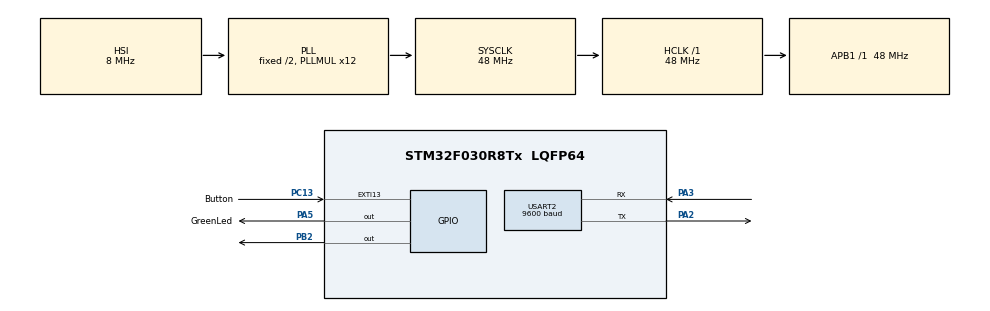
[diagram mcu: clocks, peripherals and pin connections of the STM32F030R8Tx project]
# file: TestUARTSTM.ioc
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Mcu.Family=STM32F0
Mcu.Name=STM32F030R8Tx
Mcu.Package=LQFP64
NVIC.EXTI4_15_IRQn=true\:0\:0\:false\:true\:true\:2\:true
NVIC.USART2_IRQn=true\:0\:0\:false\:true\:true\:1\:true
PA2.Mode=Asynchronous
PA2.Signal=USART2_TX
PA3.Mode=Asynchronous
PA3.Signal=USART2_RX
PA5.GPIO_Label=GreenLed
PA5.Signal=GPIO_Output
PB2.Signal=GPIO_Output
PC13.GPIO_Label=Button
PC13.Signal=GPXTI13
ProjectManager.HeapSize=0x200
ProjectManager.StackSize=0x400
ProjectManager.TargetToolchain=MDK-ARM V5
RCC.AHBFreq_Value=48000000
RCC.APB1Freq_Value=48000000
RCC.APB1TimFreq_Value=48000000
RCC.HCLKFreq_Value=48000000
RCC.PLLMUL=RCC_PLL_MUL12
RCC.SYSCLKFreq_VALUE=48000000
RCC.SYSCLKSource=RCC_SYSCLKSOURCE_PLLCLK
USART2.BaudRate=9600
USART2.VirtualMode-Asynchronous=VM_ASYNC
board=TestUARTSTM

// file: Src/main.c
/**
  ******************************************************************************
  * File Name          : main.c
  * Description        : Main program body
  ******************************************************************************
  ** This notice applies to any and all portions of this file
  * that are not between comment pairs USER CODE BEGIN and
  * USER CODE END. Other portions of this file, whether
  * inserted by the user or by software development tools
  * are owned by their respective copyright owners.
  *
  * COPYRIGHT(c) 2018 STMicroelectronics
  *
  * Redistribution and use in source and binary forms, with or without modification,
  * are permitted provided that the following conditions are met:
  *   1. Redistributions of source code must retain the above copyright notice,
  *      this list of conditions and the following disclaimer.
  *   2. Redistributions in binary form must reproduce the above copyright notice,
  *      this list of conditions and the following disclaimer in the documentation
  *      and/or other materials provided with the distribution.
  *   3. Neither the name of STMicroelectronics nor the names of its contributors
  *      may be used to endorse or promote products derived from this software
  *      without specific prior written permission.
  *
  * THIS SOFTWARE IS PROVIDED BY THE COPYRIGHT HOLDERS AND CONTRIBUTORS "AS IS"
  * AND ANY EXPRESS OR IMPLIED WARRANTIES, INCLUDING, BUT NOT LIMITED TO, THE
  * IMPLIED WARRANTIES OF MERCHANTABILITY AND FITNESS FOR A PARTICULAR PURPOSE ARE
  * DISCLAIMED. IN NO EVENT SHALL THE COPYRIGHT HOLDER OR CONTRIBUTORS BE LIABLE
  * FOR ANY DIRECT, INDIRECT, INCIDENTAL, SPECIAL, EXEMPLARY, OR CONSEQUENTIAL
  * DAMAGES (INCLUDING, BUT NOT LIMITED TO, PROCUREMENT OF SUBSTITUTE GOODS OR
  * SERVICES; LOSS OF USE, DATA, OR PROFITS; OR BUSINESS INTERRUPTION) HOWEVER
  * CAUSED AND ON ANY THEORY OF LIABILITY, WHETHER IN CONTRACT, STRICT LIABILITY,
  * OR TORT (INCLUDING NEGLIGENCE OR OTHERWISE) ARISING IN ANY WAY OUT OF THE USE
  * OF THIS SOFTWARE, EVEN IF ADVISED OF THE POSSIBILITY OF SUCH DAMAGE.
  *
  ******************************************************************************
  */

#include "main.h"
#include "stm32f0xx_hal.h"

UART_HandleTypeDef huart2;

/* USER CODE BEGIN PV */
/* Private variables ---------------------------------------------------------*/
uint8_t Data[16];
uint8_t flagBtn = 1;
uint8_t tData[16] = {'i','t',' ', 'i', 's', ' ', 'S','T','M','!'};
/* USER CODE END PV */

void SystemClock_Config(void);
static void MX_GPIO_Init(void);
static void MX_USART2_UART_Init(void);
static void MX_NVIC_Init(void);

/* USER CODE BEGIN PFP */
/* Private function prototypes -----------------------------------------------*/

/* USER CODE END PFP */

int main(void)
{

  /* MCU Configuration----------------------------------------------------------*/

  /* Reset of all peripherals, Initializes the Flash interface and the Systick. */
  HAL_Init();

  /* Configure the system clock */
  SystemClock_Config();

  /* Initialize all configured peripherals */
  MX_GPIO_Init();
  MX_USART2_UART_Init();

  /* Initialize interrupts */
  MX_NVIC_Init();

  /* USER CODE BEGIN 2 */
//	__HAL_UART_ENABLE_IT(&huart2, UART_IT_RXNE);
  /* USER CODE END 2 */

  /* Infinite loop */
  /* USER CODE BEGIN WHILE */
  while (1)
  {
	  HAL_UART_Receive(&huart2, Data, 10, 1000);
  /* USER CODE END WHILE */

  /* USER CODE BEGIN 3 */
	  if(Data[0] == (uint8_t)'e')
		  HAL_GPIO_WritePin(GreenLed_GPIO_Port, GreenLed_Pin, GPIO_PIN_SET);
	  else
		  HAL_GPIO_WritePin(GreenLed_GPIO_Port, GreenLed_Pin, GPIO_PIN_RESET);

	  if(Data[0] == (uint8_t)'g' || tData[0] ==(uint8_t)'B')
		HAL_UART_Transmit(&huart2, tData, 16, 1000);

  }
  /* USER CODE END 3 */

}

/** System Clock Configuration
*/
void SystemClock_Config(void)
{

  RCC_OscInitTypeDef RCC_OscInitStruct;
  RCC_ClkInitTypeDef RCC_ClkInitStruct;

    /**Initializes the CPU, AHB and APB busses clocks
    */
  RCC_OscInitStruct.OscillatorType = RCC_OSCILLATORTYPE_HSI;
  RCC_OscInitStruct.HSIState = RCC_HSI_ON;
  RCC_OscInitStruct.HSICalibrationValue = 16;
  RCC_OscInitStruct.PLL.PLLState = RCC_PLL_ON;
  RCC_OscInitStruct.PLL.PLLSource = RCC_PLLSOURCE_HSI;
  RCC_OscInitStruct.PLL.PLLMUL = RCC_PLL_MUL12;
  RCC_OscInitStruct.PLL.PREDIV = RCC_PREDIV_DIV1;
  if (HAL_RCC_OscConfig(&RCC_OscInitStruct) != HAL_OK)
  {
    _Error_Handler(__FILE__, __LINE__);
  }

    /**Initializes the CPU, AHB and APB busses clocks
    */
  RCC_ClkInitStruct.ClockType = RCC_CLOCKTYPE_HCLK|RCC_CLOCKTYPE_SYSCLK
                              |RCC_CLOCKTYPE_PCLK1;
  RCC_ClkInitStruct.SYSCLKSource = RCC_SYSCLKSOURCE_PLLCLK;
  RCC_ClkInitStruct.AHBCLKDivider = RCC_SYSCLK_DIV1;
  RCC_ClkInitStruct.APB1CLKDivider = RCC_HCLK_DIV1;

  if (HAL_RCC_ClockConfig(&RCC_ClkInitStruct, FLASH_LATENCY_1) != HAL_OK)
  {
    _Error_Handler(__FILE__, __LINE__);
  }

    /**Configure the Systick interrupt time
    */
  HAL_SYSTICK_Config(HAL_RCC_GetHCLKFreq()/1000);

    /**Configure the Systick
    */
  HAL_SYSTICK_CLKSourceConfig(SYSTICK_CLKSOURCE_HCLK);

  /* SysTick_IRQn interrupt configuration */
  HAL_NVIC_SetPriority(SysTick_IRQn, 0, 0);
}

/** NVIC Configuration
*/
static void MX_NVIC_Init(void)
{
  /* USART2_IRQn interrupt configuration */
  HAL_NVIC_SetPriority(USART2_IRQn, 0, 0);
  HAL_NVIC_EnableIRQ(USART2_IRQn);
  /* EXTI4_15_IRQn interrupt configuration */
  HAL_NVIC_SetPriority(EXTI4_15_IRQn, 0, 0);
  HAL_NVIC_EnableIRQ(EXTI4_15_IRQn);
}

/* USART2 init function */
static void MX_USART2_UART_Init(void)
{

  huart2.Instance = USART2;
  huart2.Init.BaudRate = 9600;
  huart2.Init.WordLength = UART_WORDLENGTH_8B;
  huart2.Init.StopBits = UART_STOPBITS_1;
  huart2.Init.Parity = UART_PARITY_NONE;
  huart2.Init.Mode = UART_MODE_TX_RX;
  huart2.Init.HwFlowCtl = UART_HWCONTROL_NONE;
  huart2.Init.OverSampling = UART_OVERSAMPLING_16;
  huart2.Init.OneBitSampling = UART_ONE_BIT_SAMPLE_DISABLE;
  huart2.AdvancedInit.AdvFeatureInit = UART_ADVFEATURE_NO_INIT;
  if (HAL_UART_Init(&huart2) != HAL_OK)
  {
    _Error_Handler(__FILE__, __LINE__);
  }

}

/** Configure pins as
        * Analog
        * Input
        * Output
        * EVENT_OUT
        * EXTI
*/
static void MX_GPIO_Init(void)
{

  GPIO_InitTypeDef GPIO_InitStruct;

  /* GPIO Ports Clock Enable */
  __HAL_RCC_GPIOC_CLK_ENABLE();
  __HAL_RCC_GPIOA_CLK_ENABLE();
  __HAL_RCC_GPIOB_CLK_ENABLE();

  /*Configure GPIO pin Output Level */
  HAL_GPIO_WritePin(GreenLed_GPIO_Port, GreenLed_Pin, GPIO_PIN_RESET);

  /*Configure GPIO pin Output Level */
  HAL_GPIO_WritePin(GPIOB, GPIO_PIN_2, GPIO_PIN_RESET);

  /*Configure GPIO pin : Button_Pin */
  GPIO_InitStruct.Pin = Button_Pin;
  GPIO_InitStruct.Mode = GPIO_MODE_IT_RISING;
  GPIO_InitStruct.Pull = GPIO_NOPULL;
  HAL_GPIO_Init(Button_GPIO_Port, &GPIO_InitStruct);

  /*Configure GPIO pin : GreenLed_Pin */
  GPIO_InitStruct.Pin = GreenLed_Pin;
  GPIO_InitStruct.Mode = GPIO_MODE_OUTPUT_PP;
  GPIO_InitStruct.Pull = GPIO_NOPULL;
  GPIO_InitStruct.Speed = GPIO_SPEED_FREQ_LOW;
  HAL_GPIO_Init(GreenLed_GPIO_Port, &GPIO_InitStruct);

  /*Configure GPIO pin : PB2 */
  GPIO_InitStruct.Pin = GPIO_PIN_2;
  GPIO_InitStruct.Mode = GPIO_MODE_OUTPUT_PP;
  GPIO_InitStruct.Pull = GPIO_NOPULL;
  GPIO_InitStruct.Speed = GPIO_SPEED_FREQ_LOW;
  HAL_GPIO_Init(GPIOB, &GPIO_InitStruct);

}

/* USER CODE BEGIN 4 */
void HAL_GPIO_EXTI_Callback(uint16_t GPIO_Pin){

	if(flagBtn != 0){
		tData[0] = 'B';
		tData[1] = 'u';
		tData[2] = 't';
		tData[3] = 't';
		tData[4] = 'o';
		tData[5] = 'n';
		tData[6] = ' ';
		tData[7] = 'p';
		tData[8] = 'u';
		tData[9] = 's';
		tData[10] = 'h';
		tData[11] = 'e';
		tData[12] = 'd';
		flagBtn = 0;
	}else{
		tData[0] = 'I';
		tData[1] = 't';
		tData[2] = ' ';
		tData[3] = 'i';
		tData[4] = 's';
		tData[5] = ' ';
		tData[6] = 'S';
		tData[7] = 'T';
		tData[8] = 'M';
		tData[9] = '!';
		tData[10] = ' ';
		tData[11] = ' ';
		tData[12] = ' ';
		flagBtn = 1;
	}
}
/* USER CODE END 4 */

void _Error_Handler(char * file, int line)
{
  while(1)
  {
  }
}

/************************ (C) COPYRIGHT STMicroelectronics *****END OF FILE****/
